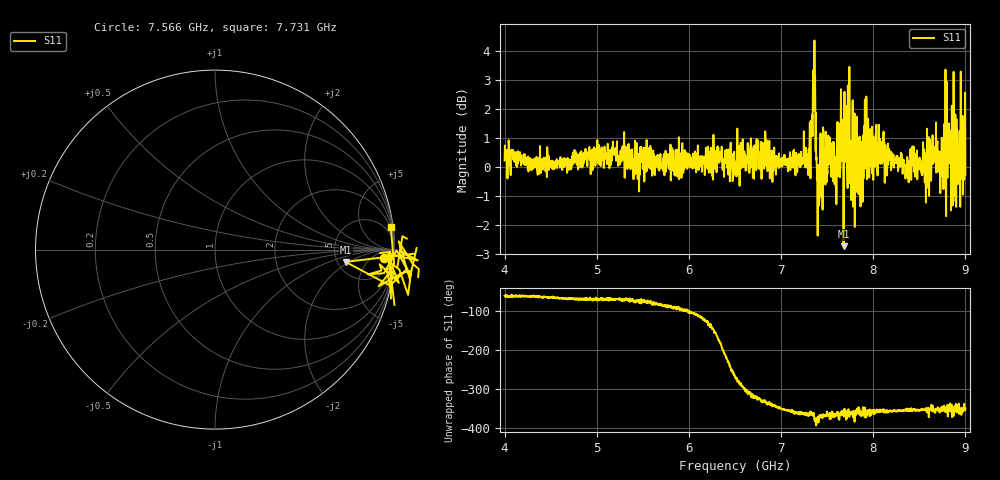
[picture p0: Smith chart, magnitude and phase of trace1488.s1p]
! Created with skrf 1.8.0 (http://scikit-rf.org).
# Hz S RI R 50.0
!freq ReS11 ImS11
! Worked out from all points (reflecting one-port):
!   1601 points, 4 GHz to 9 GHz, reference 50 ohm
!   lowest |S11| = -2.7 dB at 7.678 GHz (marker M1), VSWR 6.43, Z = 295 - j86.7 ohm
!   phase of S11 starts at -61 deg and turns -291 deg over the sweep
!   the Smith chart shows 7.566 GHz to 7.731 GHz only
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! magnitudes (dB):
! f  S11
! 4 GHz  0.2
! 4.625 GHz  -0.1
! 5.25 GHz  0.1
! 5.875 GHz  0.3
! 6.331 GHz  0.2
! 6.5 GHz  -0.2
! 6.728 GHz  0.5
! 7.125 GHz  0.4
! 7.294 GHz  0.1
! 7.347 GHz  3.3
! 7.369 GHz  3.1
! 7.397 GHz  -2.4
! 7.412 GHz  -1.3
! 7.466 GHz  0.7
! 7.538 GHz  0.8
! 7.578 GHz  0.4
! 7.678 GHz  -2.7
! 7.75 GHz  -0.6
! 7.784 GHz  -0.3
! 7.928 GHz  1.3
! 7.981 GHz  0.0
! 8.375 GHz  -0.2
! 8.738 GHz  0.4
! 8.8 GHz  1.3
! 8.872 GHz  3.3
! 8.919 GHz  -0.5
! 8.972 GHz  0.7
! 9 GHz  -0.3
